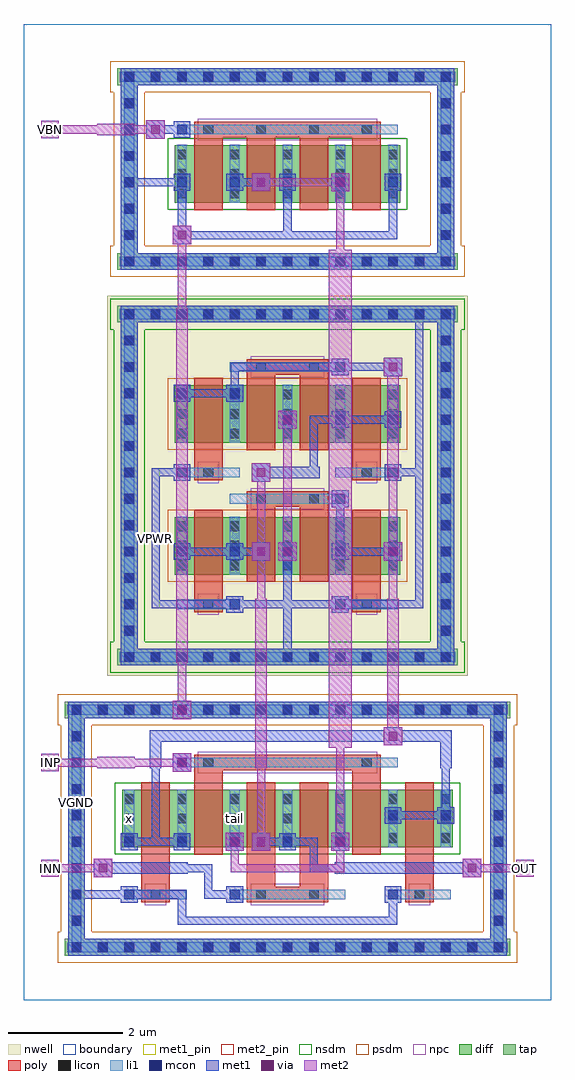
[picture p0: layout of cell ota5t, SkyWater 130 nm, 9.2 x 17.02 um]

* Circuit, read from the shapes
.subckt ota5t INN INP OUT VBN VGND VPWR tail x
XM1 x VGND x VGND sky130_fd_pr__nfet_01v8 w=1 l=0.5 m=2
XM2 tail INP x VGND sky130_fd_pr__nfet_01v8 w=1 l=0.5 m=2
XM3 tail VBN VGND VGND sky130_fd_pr__nfet_01v8 w=1 l=0.5 m=4
XM4 OUT INN tail VGND sky130_fd_pr__nfet_01v8 w=1 l=0.5 m=2
XM5 OUT VPWR OUT VPWR sky130_fd_pr__pfet_01v8 w=1 l=0.5 m=2
XM6 x VPWR x VPWR sky130_fd_pr__pfet_01v8 w=1 l=0.5 m=2
XM7 VPWR x OUT VPWR sky130_fd_pr__pfet_01v8 w=1 l=0.5 m=2
XM8 VPWR x x VPWR sky130_fd_pr__pfet_01v8 w=1 l=0.5 m=2
.ends

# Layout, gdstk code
import gdstk
lib = gdstk.Library(unit=1e-6, precision=1e-09)
def R(c, l, rs):  # rectangles x0, y0, x1, y1
    for r in rs: c.add(gdstk.rectangle(r[:2], r[2:], *l))
def A(c, l, x, y, w, h, nx, ny, dx, dy):  # array of equal rectangles
    R(c, l, [(x+i*dx, y+j*dy, x+i*dx+w, y+j*dy+h) for i in range(nx) for j in range(ny)])
nwell = (64, 20)
diff = (65, 20)
tap = (65, 44)
poly = (66, 20)
licon = (66, 44)
li1 = (67, 20)
mcon = (67, 44)
met1_pin = (68, 16)
met1 = (68, 20)
via = (68, 44)
met2_pin = (69, 16)
met2 = (69, 20)
nsdm = (93, 44)
psdm = (94, 20)
npc = (95, 20)
boundary = (235, 4)

ota5t = lib.new_cell('ota5t')
R(ota5t, nwell, [(1.455,5.655,7.745,12.285)])
R(ota5t, diff, [(1.715,2.665,7.485,3.665), (2.635,7.42,6.565,8.42), (2.635,9.72,6.565,10.72), (2.635,13.905,6.565,14.905)])
R(ota5t, tap, [(0.715,0.775,8.485,1.065), (0.775,0.775,1.065,5.205), (8.135,0.775,8.425,5.205), (0.715,4.915,8.485,5.205), (1.635,5.835,7.565,6.125), (1.695,5.835,1.985,12.105), (7.215,5.835,7.505,12.105), (1.635,11.815,7.565,12.105), (1.635,12.735,7.565,13.025), (1.695,12.735,1.985,16.245), (7.215,12.735,7.505,16.245), (1.635,15.955,7.565,16.245)])
A(ota5t, poly, 2.97, 13.775, 0.5, 1.405, 4, 1, 0.92, 0)
R(ota5t, poly, [(2.05,1.705,2.55,1.975), (3.89,1.705,5.31,1.975), (6.65,1.705,7.15,1.975), (2.05,1.84,2.55,3.795), (3.89,1.84,4.39,3.795), (4.81,1.84,5.31,3.795), (6.65,1.84,7.15,3.795), (2.97,2.535,3.47,4.14), (5.73,2.535,6.23,4.14), (2.97,4.005,6.23,4.275), (2.97,6.765,3.47,7.035), (5.73,6.765,6.23,7.035), (2.97,6.9,3.47,8.55), (5.73,6.9,6.23,8.55), (3.89,7.29,4.39,8.74), (4.81,7.29,5.31,8.74), (3.89,8.605,5.31,8.875), (2.97,9.065,3.47,9.335), (5.73,9.065,6.23,9.335), (2.97,9.2,3.47,10.85), (5.73,9.2,6.23,10.85), (3.89,9.59,4.39,11.04), (4.81,9.59,5.31,11.04), (3.89,10.905,5.31,11.175), (2.97,15.045,6.23,15.315)])
A(ota5t, licon, 0.835, 0.835, 0.17, 0.17, 17, 2, 0.46, 4.14)
A(ota5t, licon, 0.835, 1.295, 0.17, 0.17, 1, 8, 0, 0.46)
A(ota5t, licon, 8.195, 1.295, 0.17, 0.17, 1, 8, 0, 0.46)
A(ota5t, licon, 1.755, 2.74, 0.17, 0.17, 7, 3, 0.92, 0.34)
A(ota5t, licon, 1.755, 5.895, 0.17, 0.17, 13, 2, 0.46, 5.98)
A(ota5t, licon, 1.755, 6.355, 0.17, 0.17, 1, 12, 0, 0.46)
A(ota5t, licon, 7.275, 6.355, 0.17, 0.17, 1, 12, 0, 0.46)
A(ota5t, licon, 2.675, 7.495, 0.17, 0.17, 5, 3, 0.92, 0.34)
A(ota5t, licon, 2.675, 9.795, 0.17, 0.17, 5, 3, 0.92, 0.34)
A(ota5t, licon, 1.755, 12.795, 0.17, 0.17, 13, 2, 0.46, 3.22)
A(ota5t, licon, 1.755, 13.255, 0.17, 0.17, 1, 6, 0, 0.46)
A(ota5t, licon, 7.275, 13.255, 0.17, 0.17, 1, 6, 0, 0.46)
A(ota5t, licon, 2.675, 13.98, 0.17, 0.17, 5, 3, 0.92, 0.34)
A(ota5t, licon, 3.135, 15.095, 0.17, 0.17, 4, 1, 0.92, 0)
R(ota5t, licon, [(2.215,1.755,2.385,1.925), (4.055,1.755,4.225,1.925), (4.975,1.755,5.145,1.925), (6.815,1.755,6.985,1.925), (3.135,4.055,3.305,4.225), (5.895,4.055,6.065,4.225), (3.135,6.815,3.305,6.985), (5.895,6.815,6.065,6.985), (4.055,8.655,4.225,8.825), (4.975,8.655,5.145,8.825), (3.135,9.115,3.305,9.285), (5.895,9.115,6.065,9.285), (4.055,10.955,4.225,11.125), (4.975,10.955,5.145,11.125)])
A(ota5t, li1, 1.755, 2.66, 0.17, 1.01, 7, 1, 0.92, 0)
A(ota5t, li1, 2.675, 7.415, 0.17, 1.01, 5, 2, 0.92, 2.3)
A(ota5t, li1, 2.675, 13.9, 0.17, 1.01, 5, 1, 0.92, 0)
R(ota5t, li1, [(0.755,0.835,8.445,1.005), (0.835,0.835,1.005,5.145), (8.195,0.835,8.365,5.145), (1.755,1.755,2.845,1.925), (3.595,1.755,5.605,1.925), (6.355,1.755,7.445,1.925), (2.675,4.055,6.525,4.225), (0.755,4.975,8.445,5.145), (1.675,5.895,7.525,6.065), (1.755,5.895,1.925,12.045), (7.275,5.895,7.445,12.045), (2.675,6.815,3.765,6.985), (5.435,6.815,6.525,6.985), (3.595,8.655,5.605,8.825), (2.675,9.115,3.765,9.285), (5.435,9.115,6.525,9.285), (3.595,10.955,5.605,11.125), (1.675,11.875,7.525,12.045), (1.675,12.795,7.525,12.965), (1.755,12.795,1.925,16.185), (7.275,12.795,7.445,16.185), (2.675,15.095,6.525,15.265), (1.675,16.015,7.525,16.185)])
A(ota5t, mcon, 0.835, 0.835, 0.17, 0.17, 17, 2, 0.46, 4.14)
A(ota5t, mcon, 0.835, 1.295, 0.17, 0.17, 1, 3, 0, 0.46)
A(ota5t, mcon, 8.195, 1.295, 0.17, 0.17, 1, 4, 0, 0.46)
A(ota5t, mcon, 0.835, 2.675, 0.17, 0.17, 6, 1, 0.92, 0)
A(ota5t, mcon, 0.835, 3.135, 0.17, 0.17, 1, 4, 0, 0.46)
A(ota5t, mcon, 6.355, 3.135, 0.17, 0.17, 3, 1, 0.92, 0)
A(ota5t, mcon, 8.195, 3.595, 0.17, 0.17, 1, 3, 0, 0.46)
A(ota5t, mcon, 1.755, 5.895, 0.17, 0.17, 13, 2, 0.46, 5.98)
A(ota5t, mcon, 1.755, 6.355, 0.17, 0.17, 1, 3, 0, 0.92)
A(ota5t, mcon, 7.275, 6.355, 0.17, 0.17, 1, 3, 0, 0.92)
A(ota5t, mcon, 1.755, 6.815, 0.17, 0.17, 4, 1, 1.84, 0)
A(ota5t, mcon, 1.755, 7.735, 0.17, 0.17, 7, 2, 0.92, 6.44)
A(ota5t, mcon, 1.755, 8.655, 0.17, 0.17, 1, 4, 0, 0.46)
A(ota5t, mcon, 7.275, 8.655, 0.17, 0.17, 1, 3, 0, 0.46)
A(ota5t, mcon, 4.515, 10.035, 0.17, 0.17, 4, 1, 0.92, 0)
A(ota5t, mcon, 1.755, 10.495, 0.17, 0.17, 3, 1, 0.92, 0)
A(ota5t, mcon, 7.275, 10.495, 0.17, 0.17, 1, 3, 0, 0.46)
A(ota5t, mcon, 1.755, 12.795, 0.17, 0.17, 13, 2, 0.46, 3.22)
A(ota5t, mcon, 1.755, 14.635, 0.17, 0.17, 1, 3, 0, 0.46)
A(ota5t, mcon, 7.275, 14.635, 0.17, 0.17, 1, 3, 0, 0.46)
R(ota5t, mcon, [(1.755,1.755,1.925,1.925), (3.595,1.755,3.765,1.925), (6.355,1.755,6.525,1.925), (2.675,4.055,2.845,4.225), (5.435,8.655,5.605,8.825), (2.675,9.115,2.845,9.285), (6.355,9.115,6.525,9.285), (1.755,10.955,1.925,11.125), (5.435,10.955,5.605,11.125), (1.755,11.415,1.925,11.585), (1.755,13.255,1.925,13.425), (7.275,13.255,7.445,13.425), (1.755,13.715,1.925,13.885), (7.275,13.715,7.445,13.885), (2.675,15.095,2.845,15.265)])
R(ota5t, met1_pin, [(0.85,1.77,0.99,5.13), (2.23,6.83,2.37,9.27)])
A(ota5t, met1, 1.695, 2.615, 0.29, 0.29, 5, 1, 0.92, 0)
A(ota5t, met1, 6.28, 4.44, 0.32, 0.32, 1, 3, 0, 3.22)
A(ota5t, met1, 2.615, 7.675, 0.29, 0.29, 5, 2, 0.92, 6.44)
A(ota5t, met1, 4.455, 9.975, 0.29, 0.29, 3, 1, 0.92, 0)
A(ota5t, met1, 2.69, 13.27, 0.14, 1.06, 3, 1, 1.84, 0)
R(ota5t, met1, [(0.775,0.775,8.425,1.065), (0.775,0.775,1.065,5.205), (8.135,0.775,8.425,5.205), (2.69,1.31,6.51,1.45), (2.69,1.31,2.83,1.91), (6.37,1.31,6.51,1.91), (1.695,1.695,1.985,1.985), (3.535,1.695,3.825,1.985), (6.295,1.695,6.585,1.985), (0.85,1.77,1.91,1.91), (0.85,1.77,0.99,5.13), (1.77,1.77,2.83,1.91), (3.15,1.77,3.75,1.91), (3.15,1.77,3.29,2.37), (1.22,2.14,1.54,2.46), (7.66,2.14,7.98,2.46), (1.28,2.2,2.86,2.4), (5.42,2.2,7.92,2.4), (2.69,2.23,3.29,2.37), (4.99,2.23,5.59,2.37), (4.99,2.23,5.13,2.83), (3.52,2.6,3.84,2.92), (3.98,2.6,4.3,2.92), (5.36,2.6,5.68,2.92), (1.77,2.69,2.83,2.83), (2.23,2.69,2.37,4.21), (4.07,2.69,4.67,2.83), (4.53,2.69,5.13,2.83), (6.295,3.075,6.585,3.365), (7.215,3.075,7.505,3.365), (6.37,3.15,7.43,3.29), (7.29,3.15,7.43,4.21), (2.6,3.98,2.92,4.3), (2.615,3.995,2.905,4.285), (2.2,4.04,2.4,4.7), (7.26,4.04,7.46,4.7), (2.2,4.5,7.46,4.7), (2.6,4.9,2.92,5.22), (0.775,4.915,8.425,5.205), (0.85,4.99,2.83,5.13), (0.85,4.99,0.99,5.13), (2.69,4.99,2.83,5.13), (1.695,5.835,7.505,6.125), (1.695,5.835,1.985,12.105), (7.215,5.835,7.505,12.105), (4.53,5.91,4.67,6.05), (4.53,5.91,4.67,7.89), (3.535,6.755,3.825,7.045), (5.375,6.755,5.665,7.045), (2.23,6.83,2.37,9.27), (2.23,6.83,3.75,6.97), (3.61,6.83,4.67,6.97), (4.53,6.83,5.59,6.97), (5.45,6.83,6.97,6.97), (6.83,6.83,6.97,9.27), (3.98,7.66,4.3,7.98), (4.44,7.66,4.76,7.98), (2.69,7.75,3.75,7.89), (3.61,7.75,4.21,7.89), (5.45,7.75,5.59,8.81), (5.45,7.75,6.51,7.89), (5.375,8.595,5.665,8.885), (3.98,9.04,4.3,9.36), (2.615,9.055,2.905,9.345), (6.295,9.055,6.585,9.345), (4.04,9.1,5.16,9.3), (2.23,9.13,2.83,9.27), (4.99,9.13,5.13,10.19), (6.37,9.13,6.97,9.27), (6.83,9.13,6.97,12.03), (4.44,9.96,4.76,10.28), (4.99,10.05,5.59,10.19), (5.45,10.05,6.51,10.19), (2.615,10.435,2.905,10.725), (3.535,10.435,3.825,10.725), (2.69,10.51,3.75,10.65), (3.61,10.51,3.75,11.11), (5.375,10.895,5.665,11.185), (3.61,10.97,5.59,11.11), (5.45,10.97,6.51,11.11), (1.695,11.815,7.505,12.105), (6.83,11.89,6.97,12.03), (1.695,12.735,7.505,13.025), (1.695,12.735,1.985,16.245), (7.215,12.735,7.505,16.245), (2.6,13.18,2.92,13.5), (2.69,13.27,4.67,13.41), (4.53,13.27,6.51,13.41), (3.98,14.1,4.3,14.42), (5.36,14.1,5.68,14.42), (1.77,14.19,1.91,14.33), (1.77,14.19,1.91,16.17), (1.77,14.19,2.83,14.33), (3.61,14.19,4.21,14.33), (2.14,15.02,2.46,15.34), (2.615,15.035,2.905,15.325), (2.23,15.11,2.83,15.25), (1.695,15.955,7.505,16.245), (1.77,16.03,1.91,16.17)])
A(ota5t, via, 6.365, 4.525, 0.15, 0.15, 1, 3, 0, 3.22)
R(ota5t, via, [(1.305,2.225,1.455,2.375), (7.745,2.225,7.895,2.375), (3.605,2.685,3.755,2.835), (4.065,2.685,4.215,2.835), (5.445,2.685,5.595,2.835), (2.685,4.065,2.835,4.215), (2.685,4.985,2.835,5.135), (4.065,7.745,4.215,7.895), (4.525,7.745,4.675,7.895), (4.065,9.125,4.215,9.275), (4.525,10.045,4.675,10.195), (2.685,13.265,2.835,13.415), (4.065,14.185,4.215,14.335), (5.445,14.185,5.595,14.335), (2.225,15.105,2.375,15.255)])
R(ota5t, met2_pin, [(0.31,2.15,0.61,2.45), (8.59,2.15,8.89,2.45), (0.31,3.99,0.61,4.29), (0.31,15.03,0.61,15.33)])
A(ota5t, met2, 6.28, 4.44, 0.32, 0.32, 1, 3, 0, 3.22)
R(ota5t, met2, [(1.22,2.14,1.54,2.46), (7.66,2.14,7.98,2.46), (0.31,2.15,0.61,2.45), (8.59,2.15,8.89,2.45), (0.39,2.23,0.53,2.37), (0.39,2.23,1.45,2.37), (3.61,2.23,3.75,2.83), (3.61,2.23,5.59,2.37), (5.45,2.23,5.59,2.83), (7.75,2.23,8.81,2.37), (8.67,2.23,8.81,2.37), (3.52,2.6,3.84,2.92), (3.98,2.6,4.3,2.92), (5.36,2.6,5.68,2.92), (4.07,2.69,4.21,4.21), (5.45,2.69,5.59,4.67), (2.6,3.98,2.92,4.3), (0.31,3.99,0.61,4.29), (1.28,4.04,1.94,4.24), (4.04,4.04,4.24,7), (0.39,4.07,0.53,4.21), (0.39,4.07,1.45,4.21), (1.77,4.07,2.83,4.21), (5.32,4.4,5.72,13.08), (6.34,4.5,6.54,7), (2.6,4.9,2.92,5.22), (2.69,4.99,2.83,6.05), (2.66,5.88,2.86,12.06), (4.07,6.83,4.21,7.89), (6.37,6.83,6.51,7.89), (3.98,7.66,4.3,7.98), (4.44,7.66,4.76,7.98), (4.07,7.75,4.21,9.27), (4.53,7.75,4.67,10.19), (6.37,7.75,6.51,9.27), (3.98,9.04,4.3,9.36), (6.34,9.1,6.54,11.14), (4.44,9.96,4.76,10.28), (2.69,11.89,2.83,13.41), (5.45,12.81,5.59,14.33), (2.6,13.18,2.92,13.5), (3.98,14.1,4.3,14.42), (5.36,14.1,5.68,14.42), (4.07,14.19,5.59,14.33), (2.14,15.02,2.46,15.34), (0.31,15.03,0.61,15.33), (1.28,15.08,1.94,15.28), (0.39,15.11,0.53,15.25), (0.39,15.11,1.45,15.25), (1.77,15.11,2.37,15.25)])
R(ota5t, nsdm, [(1.59,2.54,7.61,3.79), (1.51,5.71,7.69,6.25), (1.57,6.25,2.11,11.69), (7.09,6.25,7.63,11.69), (1.51,11.69,7.69,12.23), (2.51,13.78,6.69,15.03)])
R(ota5t, psdm, [(0.59,0.65,8.61,1.19), (0.65,1.19,1.19,4.79), (8.01,1.19,8.55,4.79), (0.59,4.79,8.61,5.33), (2.51,7.295,6.69,8.545), (2.51,9.595,6.69,10.845), (1.51,12.61,7.69,13.15), (1.57,13.15,2.11,15.83), (7.09,13.15,7.63,15.83), (1.51,15.83,7.69,16.37)])
R(ota5t, npc, [(2.115,1.655,2.485,2.025), (3.955,1.655,5.245,2.025), (6.715,1.655,7.085,2.025), (3.035,3.955,6.165,4.325), (3.035,6.715,3.405,7.085), (5.795,6.715,6.165,7.085), (3.955,8.555,5.245,8.925), (3.035,9.015,3.405,9.385), (5.795,9.015,6.165,9.385), (3.955,10.855,5.245,11.225), (3.035,14.995,6.165,15.365)])
R(ota5t, boundary, [(0,0,9.2,17.02)])
ota5t.add(gdstk.Label('x', (1.84,3.165), layer=67, texttype=5))
ota5t.add(gdstk.Label('tail', (3.68,3.165), layer=67, texttype=5))
ota5t.add(gdstk.Label('VPWR', (2.3,8.05), layer=68, texttype=5))
ota5t.add(gdstk.Label('VGND', (0.92,3.45), layer=68, texttype=5))
ota5t.add(gdstk.Label('INP', (0.46,4.14), layer=69, texttype=5))
ota5t.add(gdstk.Label('INN', (0.46,2.3), layer=69, texttype=5))
ota5t.add(gdstk.Label('VBN', (0.46,15.18), layer=69, texttype=5))
ota5t.add(gdstk.Label('OUT', (8.74,2.3), layer=69, texttype=5))
ota5t.add(gdstk.Label('VPWR', (2.3,8.05), layer=68, texttype=16))
ota5t.add(gdstk.Label('VGND', (0.92,3.45), layer=68, texttype=16))
ota5t.add(gdstk.Label('INP', (0.46,4.14), layer=69, texttype=16))
ota5t.add(gdstk.Label('INN', (0.46,2.3), layer=69, texttype=16))
ota5t.add(gdstk.Label('VBN', (0.46,15.18), layer=69, texttype=16))
ota5t.add(gdstk.Label('OUT', (8.74,2.3), layer=69, texttype=16))

lib.write_gds('ota5t.gds')
